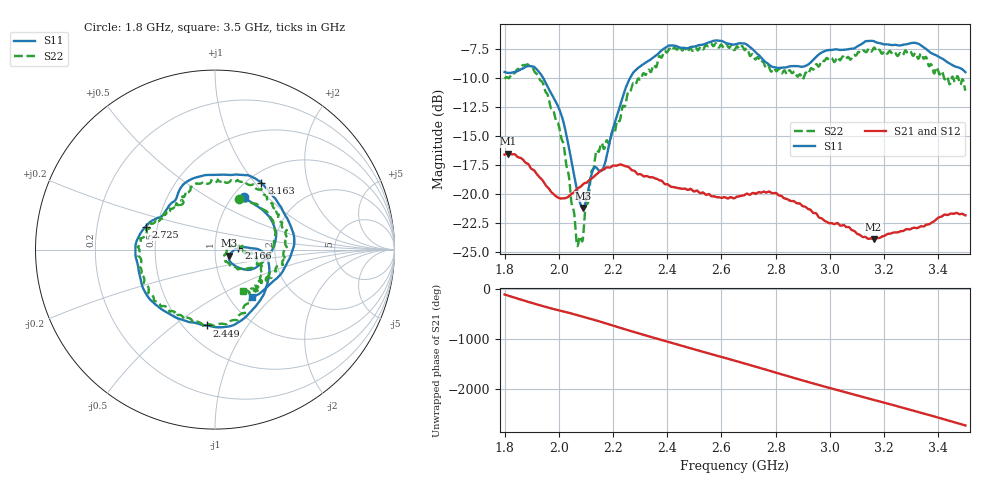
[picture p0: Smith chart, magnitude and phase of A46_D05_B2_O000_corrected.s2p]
! Created with skrf 1.9.0 (http://scikit-rf.org).
# Hz S RI R 50.0
!freq ReS11 ImS11 ReS21 ImS21 ReS12 ImS12 ReS22 ImS22
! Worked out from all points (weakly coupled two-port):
!   1601 points, 1.8 GHz to 3.5 GHz, reference 50 ohm
!   highest |S21| = -16.52 dB at 1.812 GHz (marker M1); lowest = -23.9 dB at 3.161 GHz (marker M2)
!   lowest |S11| = -21.2 dB at 2.089 GHz (marker M3), VSWR 1.19, Z = 58.6 - j3.95 ohm
!   |S11| at or under -10 dB: 1.942 GHz to 2.263 GHz (321.6 MHz wide, 15.3 % of centre)
!   |S22| runs from -24.5 to -7.0 dB; largest |S21 - S12| = 0.0024
!   S11 on the Smith chart (normalised r, x): 1.8 GHz: 1.12, +0.74; 2.166 GHz: 1.30, +0.03; 2.449 GHz: 0.64, -0.66; 2.725 GHz: 0.43, +0.13; 3.163 GHz: 1.15, +1.08; 3.5 GHz: 1.28, -0.75
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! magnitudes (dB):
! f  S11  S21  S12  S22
! 1.8 GHz  -9.5  -16.6  -16.6  -10.1
! 1.812 GHz  -9.6  -16.5  -16.5  -10.0
! 1.883 GHz  -9.0  -17.4  -17.4  -8.9
! 1.941 GHz  -10.0  -18.9  -18.9  -10.5
! 2.011 GHz  -13.3  -20.4  -20.4  -15.4
! 2.066 GHz  -19.5  -19.6  -19.6  -24.2
! 2.084 GHz  -21.1  -19.3  -19.2  -23.9
! 2.089 GHz  -21.2  -19.2  -19.2  -23.8
! 2.13 GHz  -17.7  -18.5  -18.5  -17.5
! 2.166 GHz  -17.7  -17.9  -17.8  -16.1
! 2.26 GHz  -10.2  -17.7  -17.7  -11.2
! 2.367 GHz  -7.9  -18.8  -18.7  -8.3
! 2.449 GHz  -7.4  -19.5  -19.5  -7.4
! 2.65 GHz  -7.1  -20.3  -20.3  -7.6
! 2.725 GHz  -7.8  -20.0  -19.9  -8.4
! 2.801 GHz  -9.1  -19.9  -19.9  -9.4
! 2.934 GHz  -8.6  -21.5  -21.5  -9.2
! 3.161 GHz  -6.9  -23.9  -23.8  -7.5
! 3.163 GHz  -6.9  -23.9  -23.8  -7.4
! 3.217 GHz  -7.2  -23.4  -23.4  -7.8
! 3.341 GHz  -7.3  -22.8  -22.7  -8.1
! 3.5 GHz  -9.5  -21.8  -21.8  -11.1
